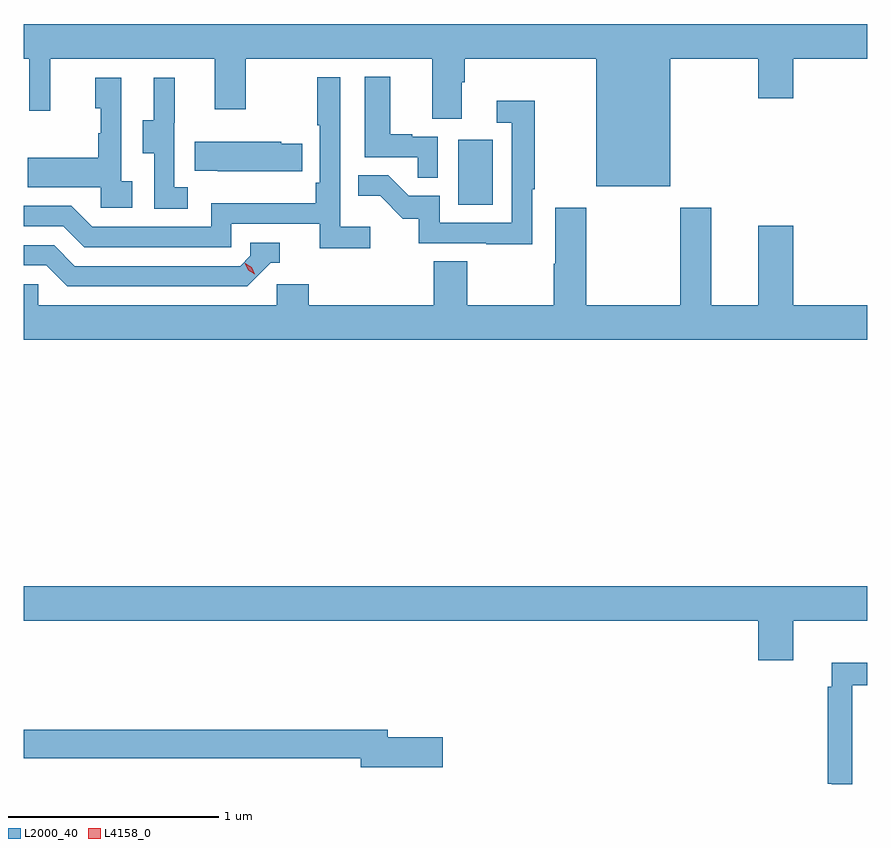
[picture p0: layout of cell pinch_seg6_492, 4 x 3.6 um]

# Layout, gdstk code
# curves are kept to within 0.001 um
import gdstk
lib = gdstk.Library(unit=1e-6, precision=1e-09)
def R(c, l, rs):  # rectangles x0, y0, x1, y1
    for r in rs: c.add(gdstk.rectangle(r[:2], r[2:], *l))
def P(c, l, *ps):  # polygons
    for p in ps: c.add(gdstk.Polygon(p, *l))
L2000_40 = (2000, 40)
L4158_0 = (4158, 0)

pinch_seg6_492 = lib.new_cell('pinch_seg6_492')
R(pinch_seg6_492, L2000_40, [(858.89,935.988,859.054,936.295)])
P(pinch_seg6_492, L2000_40, [(856.829,936.68),(856.857,936.68),(856.857,936.432),(856.955,936.432),(856.955,936.68),(857.735,936.68),(857.735,936.441),(857.883,936.441),(857.883,936.68),(858.767,936.68),(858.767,936.394),(858.907,936.394),(858.907,936.568),(858.92,936.568),(858.92,936.68),(859.544,936.68),(859.544,936.074),(859.894,936.074),(859.894,936.68),(860.312,936.68),(860.312,936.492),(860.476,936.492),(860.476,936.68),(860.829,936.68),(860.829,936.844),(856.829,936.844)],
  [(858.792,936.309),(858.671,936.309),(858.671,936.322),(858.568,936.322),(858.568,936.595),(858.446,936.595),(858.446,936.213),(858.697,936.213),(858.697,936.115),(858.792,936.115)],
  [(858.472,935.884),(858.33,935.884),(858.33,936.592),(858.222,936.592),(858.222,936.364),(858.234,936.364),(858.234,936.091),(858.214,936.091),(858.214,935.995),(857.718,935.995),(857.718,935.883),(857.154,935.883),(857.055,935.982),(856.829,935.982),(856.829,935.886),(857.018,935.886),(857.117,935.787),(857.814,935.787),(857.814,935.898),(858.233,935.898),(858.233,935.782),(858.472,935.782)],
  [(857.608,936.071),(857.544,936.071),(857.544,936.375),(857.546,936.375),(857.546,936.589),(857.447,936.589),(857.447,936.387),(857.393,936.387),(857.393,936.232),(857.448,936.232),(857.448,935.968),(857.608,935.968)],
  [(857.344,936.098),(857.292,936.098),(857.292,936.589),(857.168,936.589),(857.168,936.444),(857.194,936.444),(857.194,936.326),(857.184,936.326),(857.184,936.211),(856.849,936.211),(856.849,936.071),(857.196,936.071),(857.196,935.973),(857.344,935.973)],
  [(859.239,936.061),(859.252,936.061),(859.252,936.481),(859.071,936.481),(859.071,936.375),(859.143,936.375),(859.143,935.901),(858.801,935.901),(858.801,936.03),(858.656,936.03),(858.558,936.128),(858.415,936.128),(858.415,936.029),(858.519,936.029),(858.626,935.922),(858.703,935.922),(858.703,935.805),(859.021,935.805),(859.021,935.8),(859.239,935.8)],
  [(858.149,936.276),(858.051,936.276),(858.051,936.286),(857.641,936.286),(857.641,936.149),(857.749,936.149),(857.749,936.146),(858.149,936.146)],
  [(856.829,935.61),(856.829,935.348),(860.829,935.348),(860.829,935.512),(860.476,935.512),(860.476,935.887),(860.312,935.887),(860.312,935.512),(860.089,935.512),(860.089,935.974),(859.942,935.974),(859.942,935.512),(859.497,935.512),(859.497,935.974),(859.349,935.974),(859.349,935.708),(859.342,935.708),(859.342,935.512),(858.933,935.512),(858.933,935.72),(858.773,935.72),(858.773,935.512),(858.182,935.512),(858.182,935.61),(858.03,935.61),(858.03,935.512),(856.899,935.512),(856.899,935.61)],
  [(858,935.712),(858.043,935.712),(858.043,935.808),(857.904,935.808),(857.904,935.745),(857.856,935.697),(857.073,935.697),(856.974,935.796),(856.829,935.796),(856.83,935.7),(856.937,935.7),(857.036,935.601),(857.889,935.601)],
  [(860.476,934.016),(860.829,934.016),(860.829,934.18),(856.829,934.18),(856.829,934.016),(860.312,934.016),(860.312,933.828),(860.476,933.828)],
  [(860.757,933.711),(860.829,933.711),(860.829,933.817),(860.66,933.817),(860.66,933.704),(860.641,933.704),(860.641,933.244),(860.66,933.244),(860.66,933.242),(860.757,933.242)],
  [(858.817,933.464),(858.556,933.464),(858.556,933.5),(856.829,933.5),(856.829,933.364),(858.428,933.364),(858.428,933.322),(858.817,933.322)])
P(pinch_seg6_492, L4158_0, [(857.926,935.658),(857.895,935.677),(857.878,935.709),(857.878,935.71),(857.879,935.71),(857.91,935.69),(857.926,935.658),(857.926,935.658)])

lib.write_gds('pinch_seg6_492.gds')
